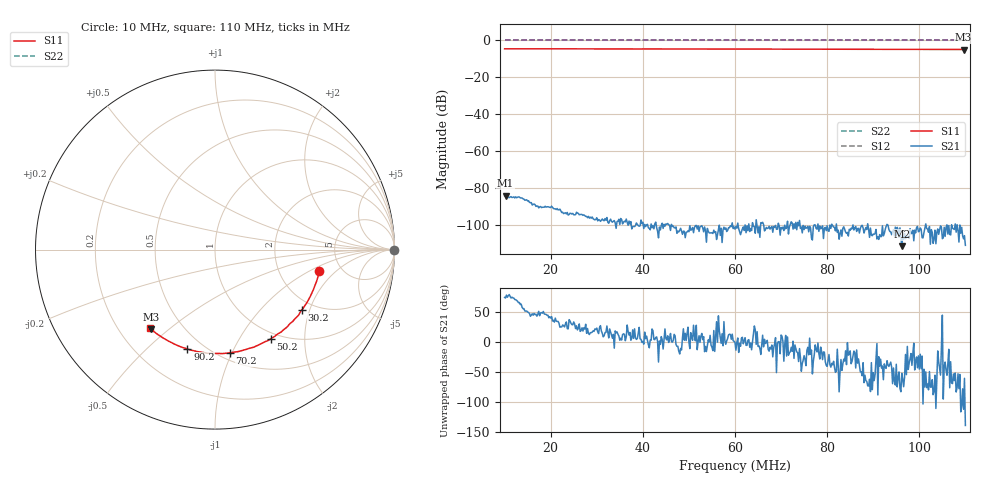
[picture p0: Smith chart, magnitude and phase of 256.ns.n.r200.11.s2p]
! Anritsu VNA Master:  Model: MS2036C/10/77
! SN:  1601066
! /card0/usr/256.ns.n.r200.11.s2p
! Existing Calibration Information:
! TYPE:  Current Settings,  Active Cal Settings
! TIME:  12/19/2017 04:04:02 PM,  12/19/2017 03:58:02 PM
! INTERNAL TEMP:  47.0 C,  47.0 C
! # POINTS:  501,  501
! START FREQ:  10.000 MHz,  10.000 MHz
! STOP FREQ:  110.000 MHz,  110.000 MHz
! SOURCE POWER:  High,  High
! IFBW:  100 Hz,  100 Hz
! AVG FACTOR:  1 ,  1
! REF PLANE 1:  0 mm,  0 mm
! REF PLANE 2:  0 mm,  0 mm
! CAL TYPE:  Full S11,  Full S11
! CAL METHOD:  SOLT,  SOLT
! CAL LINE TYPE:  Coax,  Coax
! DUT PORT 1:  N-Conn(F),  N-Conn(F)
! DUT PORT 2:  K-Conn(F),  K-Conn(F)
! CAL STATUS:  OK: Accuracy High,  --
# GHZ S DB R 50.0
! FREQ.GHZ  S11DB  S11A  S21DB  S21A  S12DB  S12A  S22DB  S22A
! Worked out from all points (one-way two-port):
!   501 points, 10 MHz to 110 MHz, reference 50 ohm
!   highest |S21| = -84.33 dB at 10.2 MHz (marker M1); lowest = -111.7 dB at 96.2 MHz (marker M2)
!   lowest |S11| = -4.9 dB at 109.6 MHz (marker M3), VSWR 3.63, Z = 16.6 - j21.7 ohm
!   |S11| at or under -10 dB: nowhere
!   |S22| runs from 0.0 to 0.0 dB; largest |S21 - S12| = 1
!   S11 on the Smith chart (normalised r, x): 10 MHz: 3.43, -1.24; 30.2 MHz: 1.73, -1.77; 50.2 MHz: 0.91, -1.37; 70.2 MHz: 0.57, -0.98; 90.2 MHz: 0.41, -0.68; 110 MHz: 0.33, -0.43
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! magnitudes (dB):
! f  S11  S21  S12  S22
! 10 MHz  -4.5  -84.4  0.0  0.0
! 10.2 MHz  -4.5  -84.3  0.0  0.0
! 26.8 MHz  -4.6  -94.5  0.0  0.0
! 30.2 MHz  -4.6  -97.9  0.0  0.0
! 33.2 MHz  -4.6  -98.3  0.0  0.0
! 37.2 MHz  -4.6  -99.6  0.0  0.0
! 38.8 MHz  -4.6  -99.8  0.0  0.0
! 40.6 MHz  -4.6  -101.0  0.0  0.0
! 43.4 MHz  -4.6  -107.1  0.0  0.0
! 44.4 MHz  -4.6  -102.0  0.0  0.0
! 46.2 MHz  -4.6  -99.8  0.0  0.0
! 50.2 MHz  -4.6  -100.6  0.0  0.0
! 51.8 MHz  -4.6  -102.4  0.0  0.0
! 53.8 MHz  -4.7  -109.5  0.0  0.0
! 60 MHz  -4.7  -102.4  0.0  0.0
! 70.2 MHz  -4.7  -102.2  0.0  0.0
! 76.8 MHz  -4.8  -108.3  0.0  0.0
! 90.2 MHz  -4.8  -105.2  0.0  0.0
! 93.4 MHz  -4.8  -102.6  0.0  0.0
! 96.2 MHz  -4.8  -111.7  0.0  0.0
! 109.6 MHz  -4.9  -107.7  0.0  0.0
! 110 MHz  -4.9  -111.2  0.0  0.0
